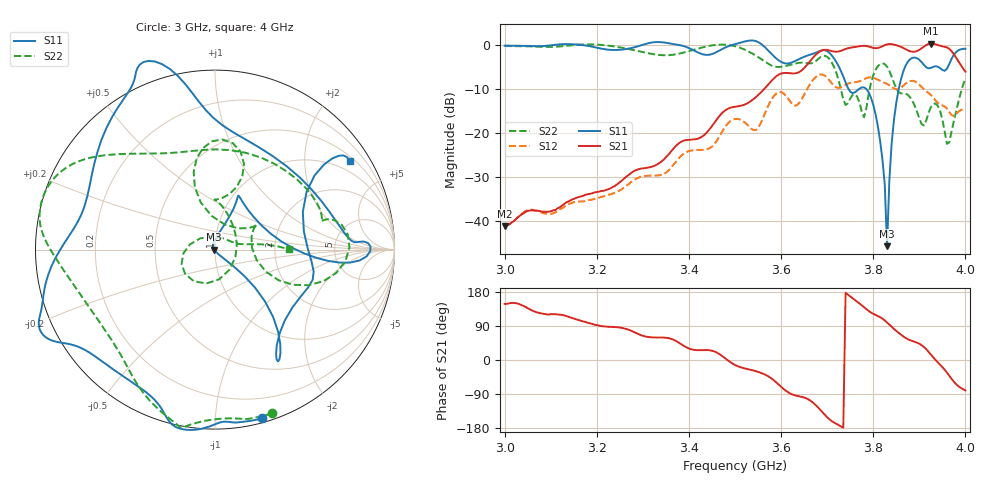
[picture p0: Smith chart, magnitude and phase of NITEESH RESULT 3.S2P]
!Agilent Technologies,E5071C,MY46520292,B.13.20
!Date: Sun Dec 10 03:28:10 2023
!Data & Calibration Information:
!Freq	S11:SOLT2(ON)	S21:SOLT2(ON)	S12:SOLT2(ON)	S22:SOLT2(ON)
!PortZ  Port1:50+j0  Port2:50+j0
!Above PortZ is port z conversion or system Z0 setting when saving the data.
!When reading, reference impedance value at option line is always used.
# Hz S dB R 50
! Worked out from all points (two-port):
!   201 points, 3 GHz to 4 GHz, reference 50 ohm
!   highest |S21| = 0.28 dB at 3.925 GHz (marker M1); lowest = -41.3 dB at 3 GHz (marker M2)
!   |S21| within 3 dB of the highest: 3.671 GHz to 3.978 GHz (307.2 MHz wide, 8.03 % of centre)
!   lowest |S11| = -45.8 dB at 3.83 GHz (marker M3), VSWR 1.01, Z = 49.5 + j0.0266 ohm
!   |S11| at or under -10 dB: 3.746 GHz to 3.77 GHz (23.78 MHz wide, 0.633 % of centre); 3.784 GHz to 3.855 GHz (71.03 MHz wide, 1.86 % of centre)
!   |S22| runs from -22.5 to 0.1 dB; largest |S21 - S12| = 0.87
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3e9  -0.21 -74.3  -41.27 148.2  -41.02 146.5  -0.30 -70.7
3.17e9  -0.09 -104.9  -34.38 101.8  -35.61 97.0  0.06 -100.2
3.335e9  0.61 -155.6  -26.98 59.4  -29.70 45.0  -2.32 -138.6
3.5e9  0.12 117.6  -14.10 -13.1  -16.89 -29.5  -0.33 153.2
3.55e9  0.62 105.9  -11.47 -31.3  -18.94 -44.9  -2.79 132.6
3.59e9  -3.16 86.7  -7.14 -59.5  -11.06 -75.5  -5.04 97.5
3.63e9  -3.73 24.7  -6.52 -93.3  -13.86 -114.1  -4.29 34.6
3.67e9  -2.04 3.0  -2.86 -113.3  -7.91 -132.0  -4.10 15.1
3.715e9  -3.12 -6.0  -1.56 -165.1  -9.32 164.0  -5.05 -20.8
3.745e9  -9.79 15.7  -0.80 172.5  -8.86 151.5  -13.32 19.4
3.78e9  -9.70 66.8  -0.24 139.4  -7.83 121.6  -16.50 68.4
3.795e9  -12.00 65.6  -0.59 125.3  -7.42 103.1  -8.73 107.9
3.82e9  -26.12 93.8  -0.34 109.1  -8.44 75.2  -4.23 86.2
3.83e9  -45.80 177.0  0.08 99.1  -8.92 65.9  -4.98 75.3
3.835e9  -30.78 -55.0  0.17 93.3  -9.22 61.5  -5.95 71.3
3.845e9  -17.05 -42.0  0.03 82.0  -9.93 55.1  -8.66 70.9
3.865e9  -6.12 -49.2  -0.72 62.4  -9.34 47.1  -11.08 90.6
3.89e9  -2.91 -60.6  -1.59 48.0  -8.33 11.2  -13.88 68.0
3.91e9  -4.58 -52.5  -0.42 34.3  -10.12 -16.4  -18.36 -19.5
3.925e9  -5.28 -28.7  0.28 14.5  -11.42 -32.6  -14.20 -104.5
3.965e9  -4.39 32.2  -0.92 -41.4  -15.30 -66.8  -22.19 53.1
4e9  -0.92 33.4  -6.11 -80.4  -14.68 -96.0  -7.68 0.3
